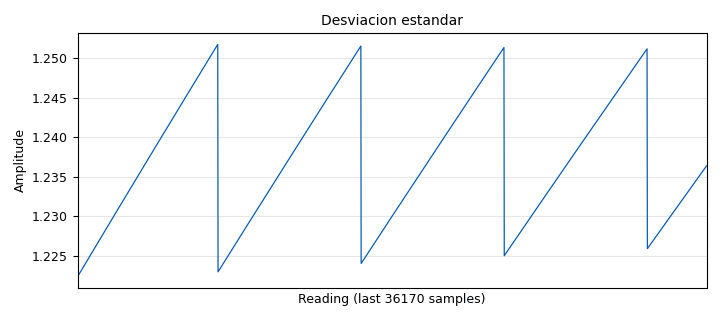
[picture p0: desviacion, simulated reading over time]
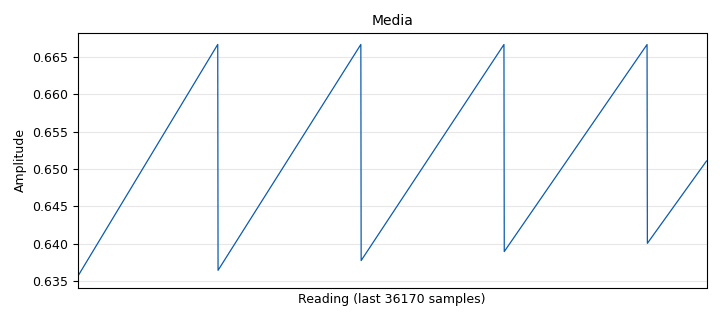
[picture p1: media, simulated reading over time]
options:
  parameters:
    author: xd
    generate_options: qt_gui
    id: lab
    output_language: python
    title: Promediador
  states: {}

blocks:
- name: samp_rate
  id: variable
  parameters:
    value: '32000'
  states: {}
- name: blocks_vector_source_x_0
  id: blocks_vector_source_x
  parameters:
    repeat: 'True'
    type: float
    vector: (1, 2, -1)
  states: {}
- name: desviacion
  id: qtgui_number_sink
  parameters:
    graph_type: qtgui.NUM_GRAPH_HORIZ
    name: Desviacion estandar
    type: float
  states: {}
- name: epy_block_0
  id: epy_block
  parameters:
    _source_code: |
      import numpy as np
      from gnuradio import gr

      class blk(gr.sync_block ):

      	def __init__(self): # only default arguments here
      		gr.sync_block.__init__(
      			self,
      			name = "e_Acum", # will show up in GRC
      			in_sig = [np.float32],
      			out_sig = [np.float32]
      		)
      		
      	def work(self, input_items, output_items ):
      		x = input_items[0] # Senial de entrada
      		y0 = output_items[0] # Senial acumulada
      		
      		y0[:] = np.cumsum(x)
      		
      		return len(y)
  states: {state: disabled}
- name: epy_block_1
  id: epy_block
  parameters:
    _source_code: |
      import numpy as np
      from gnuradio import gr
      	
      class blk (gr.sync_block):
      	def __init__ (self): # only default arguments here
      		gr.sync_block.__init__(
      		self,
      		name = "Promedios_de_tiempos", # will show up in GRC
      		in_sig = [np.float32],
      		out_sig =[np.float32,np.float32,np.float32,np.float32,np.float32]
      		)
      		self.acum_anterior = 0
      		self.Ntotales = 0
      		self.acum_anterior1 = 0
      		self.acum_anterior2 = 0


      	def work(self, input_items, output_items):
      		x = input_items[0] # Senial de entrada .
      		y0 = output_items[0] # Promedio de la senial
      		y1 = output_items[1] # Media de la senial
      		y2 = output_items[2] # RMS de la senial
      		y3 = output_items[3] # Potencia promedio de la senial
      		y4 = output_items[4] # Desviacion estandar de la senial
      		
      		# Calculo del promedio
      		N = len(x)
      		self.Ntotales = self.Ntotales + N
      		acumulado = self.acum_anterior + np.cumsum (x)
      		self.acum_anterior = acumulado[N-1]
      		y0[:] = acumulado / self.Ntotales
      		
      		# Calculo de la media cuadratica
      		x2 = np.multiply(x,x)
      		acumulado1 = self.acum_anterior1 + np.cumsum(x2)
      		self.acum_anterior1 = acumulado[N -1]
      		y1[:] = acumulado1 / self.Ntotales
      		
      		# Calculo de la RMS
      		y2[:] = np.sqrt(y1)
      		
      		# Calculo de la potencia promedio
      		y3[:] = np.multiply(y2 ,y2)
      		
      		# Calculo de la desviacion estandar
      		x3 = np.multiply(x-y0 ,x-y0)
      		acumulado2 = self.acum_anterior2 + np.cumsum(x3)
      		self.acum_anterior2 = acumulado2 [N-1]
      		y4[:] = np.sqrt (acumulado2 / self.Ntotales )
      		return len(x)
  states: {}
- name: epy_block_2
  id: epy_block
  parameters:
    _source_code: |
      import numpy as np
      from gnuradio import gr

      class blk(gr.sync_block):

      	def __init__(self):
      		gr.sync_block.__init__(
      			self,
      			name = "e_Diff",
      			in_sig = [np.float32],
      			out_sig = [np.float32]
      		
      		)
      		self.acum_anterior = 0
      		
      	def work(self, input_items, output_items):
      		x = input_items[0]
      		y0 = output_items[0]
      		
      		N = len(x)
      		diff = np.cumsum(x) - self.acum_anterior
      		self.acum_anterior = diff[N-1]
      		y0[:] = diff
      		return len(y0)
  states: {state: disabled}
- name: media
  id: qtgui_number_sink
  parameters:
    graph_type: qtgui.NUM_GRAPH_HORIZ
    name: Media
    type: float
  states: {}
- name: media_cuadratica
  id: qtgui_number_sink
  parameters:
    graph_type: qtgui.NUM_GRAPH_HORIZ
    name: Media cuadratica
    type: float
  states: {}
- name: potencia
  id: qtgui_number_sink
  parameters:
    graph_type: qtgui.NUM_GRAPH_HORIZ
    name: Potencia promedio
    type: float
  states: {}
- name: rms
  id: qtgui_number_sink
  parameters:
    graph_type: qtgui.NUM_GRAPH_HORIZ
    name: RMS
    type: float
  states: {}

connections:
- [blocks_vector_source_x_0, '0', epy_block_1, '0']
- [epy_block_1, '0', media, '0']
- [epy_block_1, '1', media_cuadratica, '0']
- [epy_block_1, '2', rms, '0']
- [epy_block_1, '3', potencia, '0']
- [epy_block_1, '4', desviacion, '0']

metadata:
  file_format: 1
  grc_version: 3.9.8.0
